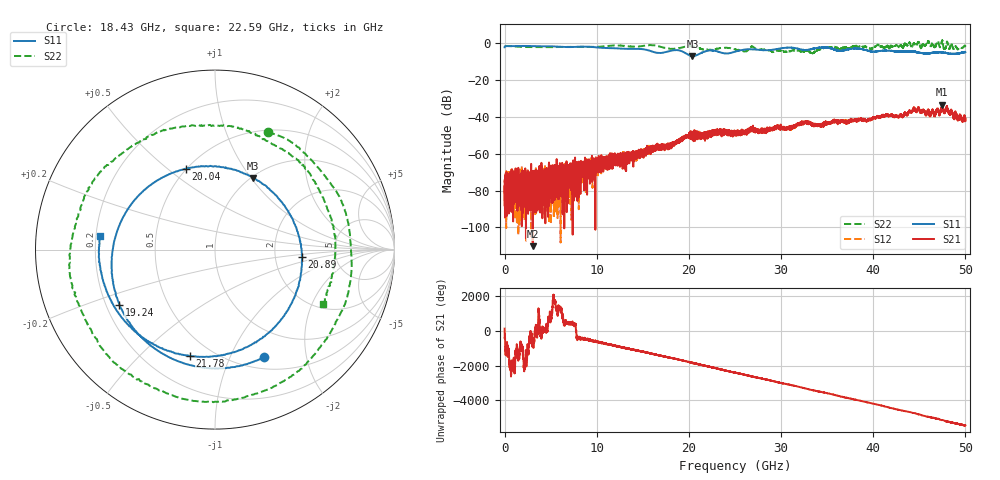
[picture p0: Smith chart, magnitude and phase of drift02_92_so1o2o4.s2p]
!Created with skrf (http://scikit-rf.org).
# Hz S RI R 50.0
!freq ReS11 ImS11 ReS21 ImS21 ReS12 ImS12 ReS22 ImS22
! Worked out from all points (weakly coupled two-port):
!   10001 points, 300 kHz to 50 GHz, reference 50 ohm
!   highest |S21| = -33.30 dB at 47.49 GHz (marker M1); lowest = -110.3 dB at 3.055 GHz (marker M2)
!   lowest |S11| = -6.9 dB at 20.38 GHz (marker M3), VSWR 2.64, Z = 50.8 + j50.9 ohm
!   |S11| at or under -10 dB: nowhere
!   |S22| runs from -5.4 to 1.6 dB; largest |S21 - S12| = 0.004
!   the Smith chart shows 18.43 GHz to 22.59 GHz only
!   S11 on the Smith chart (normalised r, x): 18.43 GHz: 0.64, -1.35; 19.24 GHz: 0.25, -0.25; 20.04 GHz: 0.49, +0.58; 20.89 GHz: 2.85, -0.31; 21.78 GHz: 0.38, -0.72; 22.59 GHz: 0.22, +0.06
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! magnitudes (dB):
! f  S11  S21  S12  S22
! 300 kHz  -2.1  -78.0  -76.9  -1.3
! 3.055 GHz  -1.4  -110.3  -76.8  -1.9
! 4.385 GHz  -1.6  -72.5  -66.7  -2.0
! 8.335 GHz  -1.7  -67.5  -73.6  -1.9
! 16.67 GHz  -5.2  -55.4  -56.5  -1.4
! 18.43 GHz  -3.6  -54.8  -54.3  -2.9
! 19.24 GHz  -4.2  -51.1  -52.2  -2.1
! 20.04 GHz  -6.4  -50.0  -49.9  -1.5
! 20.38 GHz  -6.9  -49.9  -51.1  -1.7
! 20.89 GHz  -6.3  -50.6  -49.0  -2.1
! 21.78 GHz  -4.3  -51.6  -49.8  -3.5
! 22.59 GHz  -3.8  -49.2  -49.3  -3.4
! 25 GHz  -4.5  -47.9  -49.0  -3.2
! 26.11 GHz  -3.3  -48.8  -48.0  -4.3
! 26.91 GHz  -3.2  -46.5  -46.0  -1.7
! 28.28 GHz  -3.7  -47.3  -46.8  -3.5
! 33.34 GHz  -3.0  -44.6  -43.5  -5.2
! 34.9 GHz  -2.3  -44.0  -43.1  -2.1
! 41.67 GHz  -3.9  -39.1  -39.2  -2.1
! 44.42 GHz  -4.3  -34.9  -35.1  0.1
! 47.49 GHz  -4.8  -33.3  -33.9  1.6
! 50 GHz  -4.7  -41.4  -40.4  -1.5
